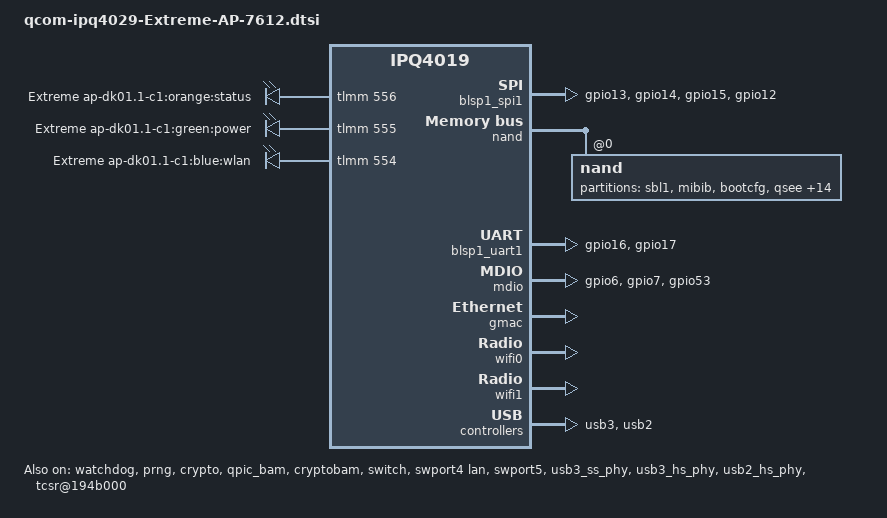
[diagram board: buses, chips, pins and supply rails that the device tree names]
// SPDX-License-Identifier: GPL-2.0-or-later OR MIT
// Copyright (c) 2018, Robert Marko <robimarko@gmail.com>

#include "qcom-ipq4019.dtsi"
#include <dt-bindings/gpio/gpio.h>
#include <dt-bindings/input/input.h>
#include <dt-bindings/soc/qcom,tcsr.h>

/ {
	aliases {
		// TODO: Verify if the ethernet0 alias is needed
		ethernet0 = &gmac;
		ethernet1 = &swport5;
	};

	soc {
		counter@4a1000 {
			compatible = "qcom,qca-gcnt";
			reg = <0x4a1000 0x4>;
		};


		tcsr@194b000 {
			status = "okay";

			compatible = "qcom,tcsr";
			reg = <0x194b000 0x100>;
			qcom,usb-hsphy-mode-select = <TCSR_USB_HSPHY_HOST_MODE>;
		};

		ess_tcsr@1953000 {
			compatible = "qcom,tcsr";
			reg = <0x1953000 0x1000>;
			qcom,ess-interface-select = <TCSR_ESS_PSGMII>;
		};

	};
};

&watchdog {
	status = "okay";
};

&prng {
	status = "okay";
};

&crypto {
	status = "okay";
};

&qpic_bam { //added
	status = "okay"; //added
}; //added
&tlmm {

pulldowns {
			pins = "gpio57", "gpio60", "gpio61",
			       "gpio62", "gpio63", "gpio64",
			       "gpio65", "gpio66", "gpio67",
			       "gpio68", "gpio69"; //"gpio54", "gpio55", "gpio56",
			function = "qpic";
			bias-pull-down;
		};
	nand_pins: nand-pins {
		pullups {
			pins = "gpio52", "gpio53", "gpio58", "gpio59";
			function = "qpic";
			bias-pull-up;
		};};
		
	gpio-leds {
    compatible = "gpio-leds";
    led-orange {
        label = "Extreme ap-dk01.1-c1:orange:status";
        gpios = <&tlmm 556 GPIO_ACTIVE_HIGH>;  /* tlmm IS correct for IPQ4018 */
        default-state = "off";
    };
    led-green {
        label = "Extreme ap-dk01.1-c1:green:power";
        gpios = <&tlmm 555 GPIO_ACTIVE_HIGH>;
        default-state = "on";
    };
    led-blue {
        label = "Extreme ap-dk01.1-c1:blue:wlan";
        gpios = <&tlmm 554 GPIO_ACTIVE_HIGH>;
        default-state = "off";
    };
};



    ethernet_power: ethernet-power {
        pins = "gpio518";
        function = "gpio";
        drive-strength = <2>;
        bias-disable;
        output-high;
    };
	mdio_pins: mdio_pinmux {
		pinmux_1 {
			pins = "gpio6"; //net worked after comment. good says pins = "gpio6";
			function = "mdio";
		};

		pinmux_2 {
			pins = "gpio7";// net worked after comment. good says pins = "gpio7";
			function = "mdc";
		};

		pinconf {
			pins =  "gpio53"; //"gpio52", net worked after comment
			bias-pull-up;
		};
	};

	serial_pins: serial_pinmux {
		mux {
			pins = "gpio16", "gpio17"; //net worked after comment. . good says 		pins = "gpio16", "gpio17";
			function = "blsp_uart0";
			bias-disable;
		};
	};

	spi_0_pins: spi_0_pinmux {
		pin {
			function = "blsp_spi0";
			pins = "gpio13", "gpio14", "gpio15"; //net worked after comment
			drive-strength = <12>;
			bias-disable;
		};

		pin_cs {
			function = "gpio";
			pins = "gpio12";// "gpio54","gpio59"; net works after comment
			drive-strength = <2>;
			bias-disable;
			output-high;
		};
	};
};

&blsp_dma {
	status = "okay";
};

&blsp1_spi1 {
	status = "okay";

	pinctrl-0 = <&spi_0_pins>;
	pinctrl-names = "default";
	cs-gpios = <&tlmm 12 GPIO_ACTIVE_HIGH>;
//cs-gpios = <&tlmm 54 GPIO_ACTIVE_HIGH>, <&tlmm 59 GPIO_ACTIVE_HIGH>;
};

&nand {
		status = "okay";

		//compatible = "jedec,spi-nor";
		//reg = <0>;
		//spi-max-frequency = <24000000>;
	nand@0 {
		partitions {
			compatible = "fixed-partitions";
			#address-cells = <1>;
			#size-cells = <1>;

			partition@0 {
				label = "sbl1";
				reg = <0x000000000000 0x000000100000 >;
				read-only;
			};

			partition@100000 {
				label = "mibib";
				reg = <0x000000100000 0x000000100000>;
			};

			partition@200000 {
				label = "bootcfg";
				reg = <0x000000200000 0x000000100000>;
			};

			partition@300000 {
				label = "qsee";
				reg = <0x000000300000 0x000000100000>;
				read-only;
			};

			partition@400000 {
				label = "qsee_alt";
				reg = <0x000000400000 0x000000100000>;
			};

			partition@500000 {
				label = "cdt";
				reg = <0x000000500000 0x000000080000>;
			};

			partition@580000 {
				label = "cdt_alt";
				reg = <0x000000580000 0x000000020000>;
			};

			partition@600000 {
				label = "ddrparams";
				reg = <0x000000600000 0x000000080000>;
			};
            
            partition@680000 {
                label = "appsblenv";
                reg = <0x000000680000 0x000000020000>;
            };

            partition@700000 {
                label = "bootstrap";
                reg = <0x000000700000 0x000000200000>;
            };

            partition@900000 {
                label = "boot1";
                reg = <0x000000900000 0x000000100000>;

            };

            partition@a00000 {
                label = "boot2";
                reg = <0x000000a00000 0x000000100000>;

            };

           art: partition@b00000 {
                label = "art";
                reg = <0x000000b00000 0x000000080000>;
                read-only;
            };

			partition@b80000 {
				label = "ubi";
				reg = <0x000000b80000 0x0001e480000>; /* full remaining NAND */
			};


			partition@12d80000 {
				label = "var2";
				reg = <0x000012d80000 0x00002200000>;   /* length = ~34 MB */
			};

			partition@14f80000 {
				label = "etc2";
				reg = <0x000014f80000 0x00004000000>;   /* length = 64 MB */
			};

			partition@18f80000 {
				label = "flash";
				reg = <0x000018f80000 0x00005400000>;   /* length = ~83 MB */
			};

			partition@1e380000 {
				label = "panic";
				reg = <0x00001e380000 0x00001c80000>;   /* length = ~28 MB */
			};
		};

	
			};
		};
	


&blsp1_uart1 {
	status = "okay";

	pinctrl-0 = <&serial_pins>;
	pinctrl-names = "default";
};

&cryptobam {
	status = "okay";
};

&mdio {
	status = "okay";
	pinctrl-0 = <&mdio_pins>;
	pinctrl-names = "default";
};

&gmac {
	status = "okay";
};

&switch {
	status = "okay";
};

&swport4 {
	status = "okay";

	label = "lan";
};

&swport5 {
	status = "okay";
};

&wifi0 {
    compatible = "qcom,ipq4019-wifi";
    status = "okay";
    qcom,ath10k-calibration-variant = "ap-dk01.1-c1";
	 nvmem-cells = <&precal_art_1000>;
    nvmem-cell-names = "pre-calibration";

};


&wifi1 {
	status = "okay";
	compatible = "qcom,ipq4019-wifi";
	    qcom,ath10k-calibration-variant = "ap-dk01.1-c1";
	 nvmem-cells = <&precal_art_5000>;
    nvmem-cell-names = "pre-calibration";
};

&art {
    compatible = "nvmem-cells";
    #address-cells = <1>;
    #size-cells = <1>;
precal_art_1000: precal_art_1000@1000 {
    reg = <0x1000 0x2f20>;
};

precal_art_5000: precal_art_5000@5000 {
    reg = <0x5000 0x2f20>;
};
};
&usb3 {
	status = "okay";
};

&usb3_ss_phy {
	status = "okay";
};

&usb3_hs_phy {
	status = "okay";
};

&usb2 {
	status = "okay";
};

&usb2_hs_phy {
	status = "okay";
};
